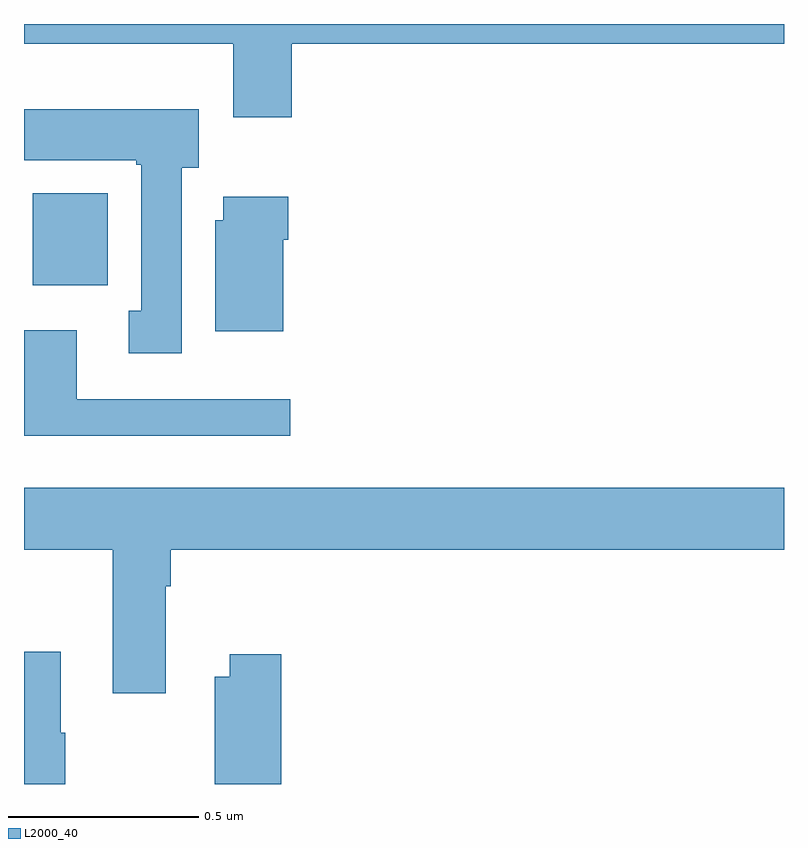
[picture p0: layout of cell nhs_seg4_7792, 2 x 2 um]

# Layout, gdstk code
import gdstk
lib = gdstk.Library(unit=1e-6, precision=1e-09)
def R(c, l, rs):  # rectangles x0, y0, x1, y1
    for r in rs: c.add(gdstk.rectangle(r[:2], r[2:], *l))
def P(c, l, *ps):  # polygons
    for p in ps: c.add(gdstk.Polygon(p, *l))
L2000_40 = (2000, 40)

nhs_seg4_7792 = lib.new_cell('nhs_seg4_7792')
R(nhs_seg4_7792, L2000_40, [(207.023,768.212,207.22,768.454)])
P(nhs_seg4_7792, L2000_40, [(207.704,768.848),(209,768.848),(209,768.9),(207,768.9),(207,768.848),(207.551,768.848),(207.551,768.654),(207.704,768.654)],
  [(207.415,768.522),(207.46,768.522),(207.46,768.676),(207,768.676),(207,768.542),(207.295,768.542),(207.295,768.529),(207.308,768.529),(207.308,768.146),(207.275,768.146),(207.275,768.033),(207.415,768.033)],
  [(207.682,768.332),(207.695,768.332),(207.695,768.445),(207.524,768.445),(207.524,768.384),(207.503,768.384),(207.503,768.092),(207.682,768.092)],
  [(207.7,767.913),(207.139,767.913),(207.139,768.094),(207,768.094),(207,767.816),(207.7,767.816)],
  [(207.373,767.42),(207.386,767.42),(207.386,767.516),(209,767.516),(209,767.68),(207,767.68),(207,767.516),(207.233,767.516),(207.233,767.139),(207.373,767.139)],
  [(207.109,767.035),(207.097,767.035),(207.097,767.248),(207,767.248),(207,766.9),(207.109,766.9)],
  [(207.677,767.242),(207.542,767.242),(207.542,767.182),(207.502,767.182),(207.502,766.9),(207.677,766.9)])

lib.write_gds('nhs_seg4_7792.gds')
